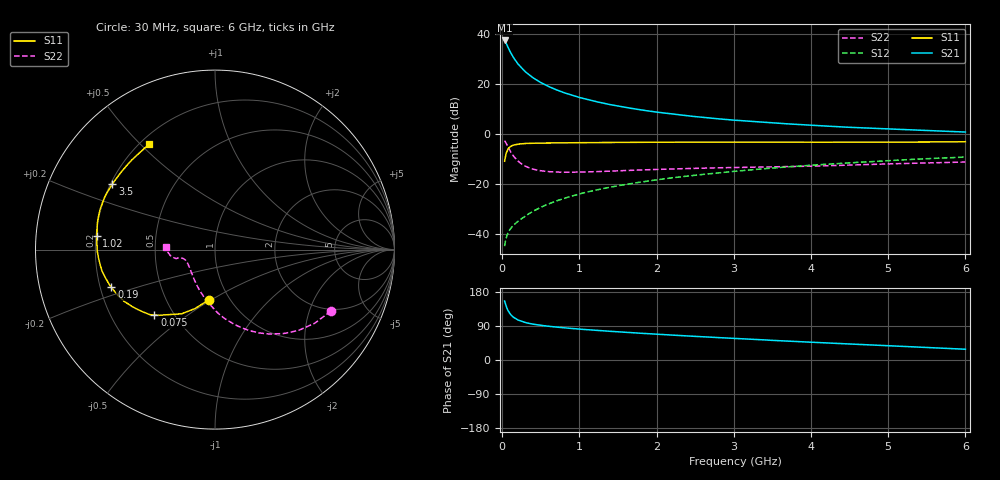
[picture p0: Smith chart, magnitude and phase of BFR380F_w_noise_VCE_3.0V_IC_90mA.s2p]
! Infineon Technologies  Discrete & RF Semiconductors
! BFR380F
! VCE =  3.0 V,  IC =  90 mA
! Common Emitter S-Parameters:  Nov 2015
# GHz  S  MA  R  50
!  f  S11  S21  S12  S22
! GHz  MAG  ANG  MAG  ANG  MAG  ANG  MAG  ANG
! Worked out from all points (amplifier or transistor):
!   206 points, 30 MHz to 6 GHz, reference 50 ohm
!   highest |S21| = 37.3 dB at 30 MHz (marker M1)
!   |S21| within 3 dB of that: start of sweep to 78.4 MHz
!   unconditionally stable (mu >= 1): 482.9 MHz to 4.931 GHz
!   at 200 MHz: K = 0.79, MSG = 31.5 dB, |S12| = -35.0 dB
!   at 1.56 GHz: K = 1.07, MAG = 13.9 dB, |S12| = -20.4 dB
!   at 6 GHz: K = 0.99, MSG = 5.0 dB, |S12| = -9.3 dB
!   lowest NFmin = 2.09 dB at 450 MHz
!   S11 on the Smith chart (normalised r, x): 30 MHz: 0.80, -0.49; 75 MHz: 0.39, -0.38; 190 MHz: 0.25, -0.17; 1.02 GHz: 0.20, +0.06; 3.5 GHz: 0.21, +0.28; 6 GHz: 0.24, +0.53
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0.03  0.2829 -97.3  72.87 155.5  0.0057 74.9  0.7307 -27.9
0.04  0.347 -108.7  68.56 148.6  0.0071 69.5  0.6909 -36.4
0.05  0.4034 -117.5  64.06 142.1  0.0082 66.7  0.6475 -44.1
0.065  0.4623 -128.0  57.05 134.6  0.0097 62.1  0.5819 -53.7
0.075  0.4965 -132.8  52.92 130.4  0.0106 60.7  0.5427 -59.5
0.09  0.5299 -139.0  47.3 125.1  0.0117 59.2  0.4904 -67.0
0.1  0.5465 -142.6  44.05 122.1  0.0124 58.5  0.4597 -71.2
0.12  0.5718 -148.2  38.56 117.3  0.0136 58.2  0.4084 -78.8
0.15  0.5973 -154.3  32.26 111.9  0.0151 58.7  0.3507 -87.9
0.19  0.6143 -160.0  26.46 107.3  0.0172 60.0  0.2995 -97.0
0.24  0.6283 -164.9  21.38 102.7  0.0197 62.3  0.2567 -106.8
0.3  0.6402 -169.1  17.22 98.8  0.0229 64.8  0.2245 -116.4
0.45  0.6504 -175.4  11.64 92.8  0.0312 69.1  0.1882 -132.5
0.7  0.6575 178.5  7.54 86.8  0.0455 72.7  0.172 -147.8
1.02  0.6631 173.2  5.204 81.2  0.0641 74.1  0.1718 -157.5
1.04  0.6635 172.9  5.11 80.9  0.0652 74.1  0.1721 -157.9
2.02  0.678 161.5  2.682 67.9  0.1215 72.9  0.1943 -165.9
3.1  0.6793 151.3  1.824 56.1  0.1832 69.1  0.2132 -167.2
3.5  0.6789 147.3  1.644 51.8  0.2067 67.4  0.2181 -167.0
4.1  0.6779 141.4  1.449 45.9  0.2407 64.3  0.2269 -167.6
5.1  0.6816 131.8  1.229 36.7  0.2961 59.1  0.2525 -173.0
6  0.6928 121.9  1.082 28.4  0.3426 53.4  0.2727 176.7
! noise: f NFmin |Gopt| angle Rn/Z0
0.45  2.09  0.53  -173  0.08
0.9  2.16  0.56  -169  0.08
1.8  2.62  0.61  -157  0.14
1.9  2.77  0.62  -157  0.14
2.4  2.91  0.63  -148  0.23
3.5  3.85  0.64  -137  0.48
